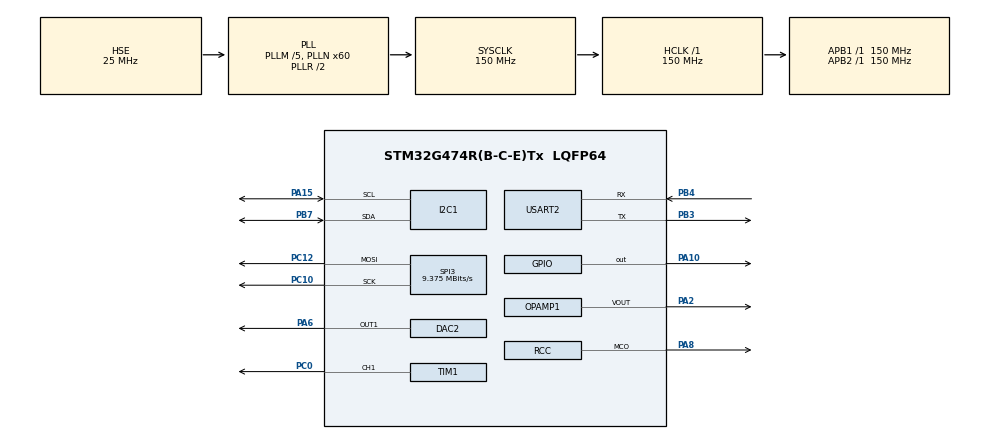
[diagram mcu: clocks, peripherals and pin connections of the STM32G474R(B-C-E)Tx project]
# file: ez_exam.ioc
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CRC.CRCLength=CRC_POLYLENGTH_16B
CRC.DefaultInitValueUse=DEFAULT_INIT_VALUE_DISABLE
CRC.DefaultPolynomialUse=DEFAULT_POLYNOMIAL_DISABLE
CRC.GeneratingPolynomial=X12+X5+X0
DAC3.DAC_DMADoubleDataMode-DAC_OUT1_Int=ENABLE
DAC3.DAC_Trigger_OUT1-DAC_OUT1_Int=DAC_TRIGGER_T15_TRGO
Dma.DAC3_CH1.1.Direction=DMA_MEMORY_TO_PERIPH
Dma.DAC3_CH1.1.EventEnable=DISABLE
Dma.DAC3_CH1.1.Instance=DMA1_Channel1
Dma.DAC3_CH1.1.MemDataAlignment=DMA_MDATAALIGN_WORD
Dma.DAC3_CH1.1.MemInc=DMA_MINC_ENABLE
Dma.DAC3_CH1.1.Mode=DMA_CIRCULAR
Dma.DAC3_CH1.1.PeriphDataAlignment=DMA_PDATAALIGN_WORD
Dma.DAC3_CH1.1.PeriphInc=DMA_PINC_DISABLE
Dma.DAC3_CH1.1.Polarity=HAL_DMAMUX_REQ_GEN_RISING
Dma.DAC3_CH1.1.Priority=DMA_PRIORITY_LOW
Dma.DAC3_CH1.1.RequestNumber=1
Dma.DAC3_CH1.1.SignalID=NONE
Dma.DAC3_CH1.1.SyncEnable=DISABLE
Dma.DAC3_CH1.1.SyncPolarity=HAL_DMAMUX_SYNC_NO_EVENT
Dma.DAC3_CH1.1.SyncRequestNumber=1
Dma.DAC3_CH1.1.SyncSignalID=NONE
Dma.Request0=USART2_RX
Dma.Request1=DAC3_CH1
Dma.USART2_RX.0.Direction=DMA_PERIPH_TO_MEMORY
Dma.USART2_RX.0.EventEnable=DISABLE
Dma.USART2_RX.0.Instance=DMA2_Channel8
Dma.USART2_RX.0.MemDataAlignment=DMA_MDATAALIGN_BYTE
Dma.USART2_RX.0.MemInc=DMA_MINC_ENABLE
Dma.USART2_RX.0.Mode=DMA_NORMAL
Dma.USART2_RX.0.PeriphDataAlignment=DMA_PDATAALIGN_BYTE
Dma.USART2_RX.0.PeriphInc=DMA_PINC_DISABLE
Dma.USART2_RX.0.Polarity=HAL_DMAMUX_REQ_GEN_RISING
Dma.USART2_RX.0.Priority=DMA_PRIORITY_LOW
Dma.USART2_RX.0.RequestNumber=1
Dma.USART2_RX.0.SignalID=NONE
Dma.USART2_RX.0.SyncEnable=DISABLE
Dma.USART2_RX.0.SyncPolarity=HAL_DMAMUX_SYNC_NO_EVENT
Dma.USART2_RX.0.SyncRequestNumber=1
Dma.USART2_RX.0.SyncSignalID=NONE
I2C1.Timing=0x30D293D6
Mcu.Family=STM32G4
Mcu.Name=STM32G474R(B-C-E)Tx
Mcu.Package=LQFP64
NVIC.DMA2_Channel8_IRQn=true\:0\:0\:false\:false\:true\:false\:true\:true
NVIC.PriorityGroup=NVIC_PRIORITYGROUP_4
NVIC.USART2_IRQn=true\:0\:0\:false\:false\:true\:true\:true\:true
OPAMP1.PowerMode=OPAMP_POWERMODE_HIGHSPEED
PA10.GPIO_Speed=GPIO_SPEED_FREQ_VERY_HIGH
PA10.PinState=GPIO_PIN_SET
PA10.Signal=GPIO_Output
PA13.Mode=Serial_Wire
PA13.Signal=SYS_JTMS-SWDIO
PA14.Mode=Serial_Wire
PA14.Signal=SYS_JTCK-SWCLK
PA15.Mode=I2C
PA15.Signal=I2C1_SCL
PA2.Mode=Follower-DAC_OUT2-INP
PA2.Signal=OPAMP1_VOUT
PA6.Signal=COMP_DAC21_group
PA8.GPIO_Speed=GPIO_SPEED_FREQ_MEDIUM
PA8.Mode=Clock-out
PA8.Signal=RCC_MCO
PB3.Mode=Asynchronous
PB3.Signal=USART2_TX
PB4.Mode=Asynchronous
PB4.Signal=USART2_RX
PB7.Mode=I2C
PB7.Signal=I2C1_SDA
PC0.Signal=S_TIM1_CH1
PC10.Mode=TX_Only_Simplex_Unidirect_Master
PC10.Signal=SPI3_SCK
PC12.Mode=TX_Only_Simplex_Unidirect_Master
PC12.Signal=SPI3_MOSI
PF0-OSC_IN.Mode=HSE-External-Oscillator
PF0-OSC_IN.Signal=RCC_OSC_IN
PF1-OSC_OUT.Mode=HSE-External-Oscillator
PF1-OSC_OUT.Signal=RCC_OSC_OUT
ProjectManager.HeapSize=0x200
ProjectManager.StackSize=0x400
ProjectManager.TargetToolchain=STM32CubeIDE
RCC.ADC12Freq_Value=150000000
RCC.ADC345Freq_Value=150000000
RCC.AHBFreq_Value=150000000
RCC.APB1Freq_Value=150000000
RCC.APB1TimFreq_Value=150000000
RCC.APB2Freq_Value=150000000
RCC.APB2TimFreq_Value=150000000
RCC.CortexFreq_Value=150000000
RCC.EXTERNAL_CLOCK_VALUE=12288000
RCC.HCLKFreq_Value=150000000
RCC.HSE_VALUE=25000000
RCC.HSI48_VALUE=48000000
RCC.HSI_VALUE=16000000
RCC.LSE_VALUE=32768
RCC.PLLM=RCC_PLLM_DIV5
RCC.PLLN=60
RCC.PLLSourceVirtual=RCC_PLLSOURCE_HSE
RCC.RCC_MCO1Source=RCC_MCO1SOURCE_HSE
RCC.SYSCLKFreq_VALUE=150000000
RCC.SYSCLKSource=RCC_SYSCLKSOURCE_PLLCLK
RCC.USART2CLockSelection=RCC_USART2CLKSOURCE_SYSCLK
RCC.USBFreq_Value=150000000
RCC.VCOOutputFreq_Value=300000000
SH.COMP_DAC21_group.0=DAC2_OUT1,DAC_OUT1
SH.S_TIM1_CH1.0=TIM1_CH1,PWM Generation1 CH1
SPI3.BaudRatePrescaler=SPI_BAUDRATEPRESCALER_16
SPI3.CLKPolarity=SPI_POLARITY_HIGH
SPI3.CalculateBaudRate=9.375 MBits/s
SPI3.DataSize=SPI_DATASIZE_16BIT
SPI3.Direction=SPI_DIRECTION_2LINES
SPI3.Mode=SPI_MODE_MASTER
SPI3.VirtualType=VM_MASTER
TIM1.Channel-PWM\ Generation1\ CH1=TIM_CHANNEL_1
TIM1.PeriodNoDither=24
TIM15.AutoReloadPreload=TIM_AUTORELOAD_PRELOAD_DISABLE
TIM15.Dithering=Disable
TIM15.Integer_PeriodDither=4
TIM15.PeriodNoDither=4
TIM15.RepetitionCounter=0
TIM15.TIM_MasterOutputTrigger=TIM_TRGO_UPDATE
USART2.VirtualMode-Asynchronous=VM_ASYNC
VP_CORDIC_VS_CORDIC.Mode=CORDIC_Activate
VP_CRC_VS_CRC.Mode=CRC_Activate
VP_DAC3_VS_DACI1.Mode=DAC_OUT1_Int
VP_SYS_VS_DBSignals.Mode=DisableDeadBatterySignals
VP_TIM15_VS_ClockSourceINT.Mode=Internal
VP_TIM1_VS_ClockSourceINT.Mode=Internal
board=custom

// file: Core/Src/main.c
/* USER CODE BEGIN Header */
/**
  ******************************************************************************
  * @file           : main.c
  * @brief          : Main program body
  ******************************************************************************
  * @attention
  *
  * Copyright (c) 2024 STMicroelectronics.
  * All rights reserved.
  *
  * This software is licensed under terms that can be found in the LICENSE file
  * in the root directory of this software component.
  * If no LICENSE file comes with this software, it is provided AS-IS.
  *
  ******************************************************************************
  */
/* USER CODE END Header */
#include "main.h"

/* USER CODE BEGIN Includes */
#include "dds.h"
#include <math.h>
#include <stm32g4xx_hal_cordic.h>
/* USER CODE END Includes */

CORDIC_HandleTypeDef hcordic;

CRC_HandleTypeDef hcrc;

DAC_HandleTypeDef hdac2;
DAC_HandleTypeDef hdac3;
DMA_HandleTypeDef hdma_dac3_ch1;

I2C_HandleTypeDef hi2c1;

OPAMP_HandleTypeDef hopamp1;

SPI_HandleTypeDef hspi3;

TIM_HandleTypeDef htim1;
TIM_HandleTypeDef htim15;

UART_HandleTypeDef huart2;
DMA_HandleTypeDef hdma_usart2_rx;

void SystemClock_Config(void);
static void MX_GPIO_Init(void);
static void MX_DMA_Init(void);
static void MX_CRC_Init(void);
static void MX_USART2_UART_Init(void);
static void MX_TIM1_Init(void);
static void MX_I2C1_Init(void);
static void MX_SPI3_Init(void);
static void MX_DAC3_Init(void);
static void MX_OPAMP1_Init(void);
static void MX_TIM15_Init(void);
static void MX_CORDIC_Init(void);
static void MX_DAC2_Init(void);
/* USER CODE BEGIN PFP */
void i2c_handler(uint8_t * data, size_t size)
{
	if (data[0] == 'W')
	{
		uint8_t result = 0;
		if (HAL_I2C_Master_Transmit(&hi2c1, data[1], data+2 , size - 2, size) !=  HAL_OK)
		{
			result = -1 ;
		}
		//uart_transmit(&result, 1);
	}
	else if (data[0] == 'R')
	{
		uint8_t length = data[2];
		if (length > 16)
			length = 16;
		uint8_t i2c_buffer[17];
		i2c_buffer[0] = 0;

		if (HAL_I2C_Master_Receive(&hi2c1, data[1], i2c_buffer + 1, length , length + 1) != HAL_OK)
		{
			i2c_buffer[0] = -1;
		}
		//uart_transmit(i2c_buffer, length + 1);
	}
}
void send_data(uint16_t data)
{
	HAL_GPIO_WritePin(GPIOA, 1<<10, GPIO_PIN_RESET);
	HAL_SPI_Transmit(&hspi3, (uint8_t *)&data, 1, 10);
	HAL_GPIO_WritePin(GPIOA, 1<<10, GPIO_PIN_SET);
}
void i2c_write(uint8_t * data, size_t size , uint16_t addr)
{
	if (HAL_I2C_Master_Transmit(&hi2c1, addr, data , size , size) !=  HAL_OK)
		return;
}
void i2c_read(uint8_t * data, size_t size, uint8_t i2c_buffer[17] ,uint16_t addr)
{
	uint8_t length = data[1];
	if (length > 16)
		length = 16;
	i2c_buffer[0] = 0;

	if (HAL_I2C_Master_Receive(&hi2c1, addr, i2c_buffer + 1, length , length + 1) != HAL_OK)
	{
		i2c_buffer[0] = -1;
	}
}
void multisynth_program(int intg, int num, int denom, int rdiv, uint8_t* data , uint8_t reg_addr) {
    int p1 = 128 * intg + floor(128*(double)num/denom) - 512;
    int p2 = 128 * num - denom * floor(128*(double)num/denom);
    int p3 = denom;

    int x, y, z;
    x = p3 / (256*256);
    p3 %= (256*256);
    y = p3 / 256;
    z = p3 % 256;
    data[1] = y;
    data[2] = z;
    data[6] = x << 4;

    x = p1 / (256*256);
    p1 %= (256*256);
    y = p1 / 256;
    z = p1 % 256;
    data[3] = x;
    data[4] = y;
    data[5] = z;

    x = p2 / (256*256);
    p2 %= (256*256);
    y = p2 / 256;
    z = p2 % 256;
    data[6] |= x;
    data[7] = y;
    data[8] = z;

    data[3] |= rdiv << 4;
    data[0] = reg_addr;
}
void pll_freq(uint8_t x , uint8_t y)
{
	uint8_t data[9] = {0};
	for (int i = 0 ; i < 9 ;++ i )
		  	  {
		  		  data[i] = 0;
		  	  }
		  data[0] = 3;
		  data[1] = 255;
		  i2c_write(data , 2  , 0xc0);
		  for (int i = 0 ; i < 9 ;++ i )
		  {
			  data[i] = 0;
		  }
		  multisynth_program(x, 0, 500, 0, data , 26);
		i2c_write(data, 9 , 0xc0);
		for (int i = 0 ; i < 9 ;++ i )
		  {
			  data[i] = 0;
		  }
		multisynth_program(y, 0, 1, 0, data , 42);
		i2c_write(data, 9, 0xc0);
		for (int i = 0 ; i < 9 ;++ i )
		  {
			  data[i] = 0;
		  }
		data[0] = 16;
		data[1] = 0b11<<2 | 0b01;
		i2c_write(data, 2, 0xc0);
		for (int i = 0 ; i < 9 ;++ i )
		  {
			  data[i] = 0;
		  }
		data[0] = 3;
		data[1] = 255 - (1);
		i2c_write(data, 2, 0xc0);
}
#define length 15
void set_dac(uint8_t offset)
{

	  uint32_t temp1[length];
	  uint32_t temp2[length];
	  uint16_t hsdac_buffer[length];
	  for (int i = 0; i < length; ++i)
	  {
		  temp1[i] = (1llu<<32) / length * i;
	  }

	  HAL_CORDIC_CalculateZO(&hcordic, temp1, temp2, length,10);
	  for (int i= 0 ; i < length; ++i)
	  {
		  hsdac_buffer[i] = (temp2[i] + (1<< 31))>>21;
		  hsdac_buffer[i] += offset;
	  }
	  HAL_DAC_Start_DMA(&hdac3, DAC_CHANNEL_1, hsdac_buffer, length / 2, DAC_ALIGN_12B_R);
//	  uint16_t dither[1000];
//	  int time_dither = 4;
//	  float e = 0;
//	  for (int i = 0 ; i < 1000 ; ++i)
//	  {
//
//		  e /= 2;
//		  if (e <1.14 )
//		  {
//
//			  dither[i] = 2;
//			  e +=2 ;
//		  }
//		  else
//		  {
//			  dither[i] = 1;
//			  e += 1;
//		  }
//	  }
//	  uint16_t dither[10] = {4,4,4,4,5,4,4,4,4,5};
//	  HAL_TIM_Base_Start_DMA(&htim15 ,dither , 1000 );
	  //(&htim15)->Instance->ARR = (uint32_t)(4);
//	  HAL_TIM_PWM_Start(&htim15, TIM_CHANNEL_1);
	  HAL_TIM_Base_Start(&htim15);
	  HAL_OPAMP_Start(&hopamp1);
}
/* USER CODE END PFP */

int main(void)
{

  /* MCU Configuration--------------------------------------------------------*/

  /* Reset of all peripherals, Initializes the Flash interface and the Systick. */
  HAL_Init();

  /* Configure the system clock */
  SystemClock_Config();

  /* Initialize all configured peripherals */
  MX_GPIO_Init();
  MX_DMA_Init();
  MX_CRC_Init();
  MX_USART2_UART_Init();
  MX_TIM1_Init();
  MX_I2C1_Init();
  MX_SPI3_Init();
  MX_DAC3_Init();
  MX_OPAMP1_Init();
  MX_TIM15_Init();
  MX_CORDIC_Init();
  MX_DAC2_Init();
  /* USER CODE BEGIN 2 */
  //uint8_t data[9] = {0};
  //HAL_DAC_Start(&hdac2, DAC_CHANNEL_1);
  //HAL_DAC_SetValue(&hdac2, DAC1_CHANNEL_1, DAC_ALIGN_12B_R, 4000);
  pll_freq(40,10);
  set_freq(send_data, 1000000, 1);
  set_dac(512);
//  set_freq(send_data, 10000000, 1);
//#define length 10
//  uint32_t temp1[length];
//  uint32_t temp2[length];
//  uint16_t hsdac_buffer[length];
//  for (int i = 0; i < length; ++i)
//  {
//	  temp1[i] = (1llu<<32) / length * i;
//  }
//
//  HAL_CORDIC_CalculateZO(&hcordic, temp1, temp2, length,10);
//  for (int i= 0 ; i < length; ++i)
//  {
//	  hsdac_buffer[i] = (temp2[i] + (1<< 31))>>21;
//	  hsdac_buffer[i] += 512;
//  }
//  HAL_DAC_Start_DMA(&hdac3, DAC_CHANNEL_1, hsdac_buffer, length / 2, DAC_ALIGN_12B_R);
//
//  HAL_TIM_Base_Start(&htim15);
//  (&htim15)->Instance->ARR = (uint32_t)(6);
//  HAL_OPAMP_Start(&hopamp1);
  /* USER CODE END 2 */

  /* Infinite loop */
  while (1)
  {

  }
}

void SystemClock_Config(void)
{
  RCC_OscInitTypeDef RCC_OscInitStruct = {0};
  RCC_ClkInitTypeDef RCC_ClkInitStruct = {0};

  /** Configure the main internal regulator output voltage
  */
  HAL_PWREx_ControlVoltageScaling(PWR_REGULATOR_VOLTAGE_SCALE1);

  /** Initializes the RCC Oscillators according to the specified parameters
  * in the RCC_OscInitTypeDef structure.
  */
  RCC_OscInitStruct.OscillatorType = RCC_OSCILLATORTYPE_HSE;
  RCC_OscInitStruct.HSEState = RCC_HSE_ON;
  RCC_OscInitStruct.PLL.PLLState = RCC_PLL_ON;
  RCC_OscInitStruct.PLL.PLLSource = RCC_PLLSOURCE_HSE;
  RCC_OscInitStruct.PLL.PLLM = RCC_PLLM_DIV5;
  RCC_OscInitStruct.PLL.PLLN = 60;
  RCC_OscInitStruct.PLL.PLLP = RCC_PLLP_DIV2;
  RCC_OscInitStruct.PLL.PLLQ = RCC_PLLQ_DIV2;
  RCC_OscInitStruct.PLL.PLLR = RCC_PLLR_DIV2;
  if (HAL_RCC_OscConfig(&RCC_OscInitStruct) != HAL_OK)
  {
    Error_Handler();
  }

  /** Initializes the CPU, AHB and APB buses clocks
  */
  RCC_ClkInitStruct.ClockType = RCC_CLOCKTYPE_HCLK|RCC_CLOCKTYPE_SYSCLK
                              |RCC_CLOCKTYPE_PCLK1|RCC_CLOCKTYPE_PCLK2;
  RCC_ClkInitStruct.SYSCLKSource = RCC_SYSCLKSOURCE_PLLCLK;
  RCC_ClkInitStruct.AHBCLKDivider = RCC_SYSCLK_DIV1;
  RCC_ClkInitStruct.APB1CLKDivider = RCC_HCLK_DIV1;
  RCC_ClkInitStruct.APB2CLKDivider = RCC_HCLK_DIV1;

  if (HAL_RCC_ClockConfig(&RCC_ClkInitStruct, FLASH_LATENCY_4) != HAL_OK)
  {
    Error_Handler();
  }
  HAL_RCC_MCOConfig(RCC_MCO1, RCC_MCO1SOURCE_HSE, RCC_MCODIV_1);
}

static void MX_CORDIC_Init(void)
{

  hcordic.Instance = CORDIC;
  if (HAL_CORDIC_Init(&hcordic) != HAL_OK)
  {
    Error_Handler();
  }

}

static void MX_CRC_Init(void)
{

  hcrc.Instance = CRC;
  hcrc.Init.DefaultPolynomialUse = DEFAULT_POLYNOMIAL_DISABLE;
  hcrc.Init.DefaultInitValueUse = DEFAULT_INIT_VALUE_DISABLE;
  hcrc.Init.GeneratingPolynomial = 4129;
  hcrc.Init.CRCLength = CRC_POLYLENGTH_16B;
  hcrc.Init.InitValue = 0;
  hcrc.Init.InputDataInversionMode = CRC_INPUTDATA_INVERSION_NONE;
  hcrc.Init.OutputDataInversionMode = CRC_OUTPUTDATA_INVERSION_DISABLE;
  hcrc.InputDataFormat = CRC_INPUTDATA_FORMAT_BYTES;
  if (HAL_CRC_Init(&hcrc) != HAL_OK)
  {
    Error_Handler();
  }

}

static void MX_DAC2_Init(void)
{

  DAC_ChannelConfTypeDef sConfig = {0};

  /** DAC Initialization
  */
  hdac2.Instance = DAC2;
  if (HAL_DAC_Init(&hdac2) != HAL_OK)
  {
    Error_Handler();
  }

  /** DAC channel OUT1 config
  */
  sConfig.DAC_HighFrequency = DAC_HIGH_FREQUENCY_INTERFACE_MODE_AUTOMATIC;
  sConfig.DAC_DMADoubleDataMode = DISABLE;
  sConfig.DAC_SignedFormat = DISABLE;
  sConfig.DAC_SampleAndHold = DAC_SAMPLEANDHOLD_DISABLE;
  sConfig.DAC_Trigger = DAC_TRIGGER_NONE;
  sConfig.DAC_Trigger2 = DAC_TRIGGER_NONE;
  sConfig.DAC_OutputBuffer = DAC_OUTPUTBUFFER_ENABLE;
  sConfig.DAC_ConnectOnChipPeripheral = DAC_CHIPCONNECT_EXTERNAL;
  sConfig.DAC_UserTrimming = DAC_TRIMMING_FACTORY;
  if (HAL_DAC_ConfigChannel(&hdac2, &sConfig, DAC_CHANNEL_1) != HAL_OK)
  {
    Error_Handler();
  }

}

static void MX_DAC3_Init(void)
{

  DAC_ChannelConfTypeDef sConfig = {0};

  /** DAC Initialization
  */
  hdac3.Instance = DAC3;
  if (HAL_DAC_Init(&hdac3) != HAL_OK)
  {
    Error_Handler();
  }

  /** DAC channel OUT1 config
  */
  sConfig.DAC_HighFrequency = DAC_HIGH_FREQUENCY_INTERFACE_MODE_AUTOMATIC;
  sConfig.DAC_DMADoubleDataMode = ENABLE;
  sConfig.DAC_SignedFormat = DISABLE;
  sConfig.DAC_SampleAndHold = DAC_SAMPLEANDHOLD_DISABLE;
  sConfig.DAC_Trigger = DAC_TRIGGER_T15_TRGO;
  sConfig.DAC_Trigger2 = DAC_TRIGGER_NONE;
  sConfig.DAC_OutputBuffer = DAC_OUTPUTBUFFER_DISABLE;
  sConfig.DAC_ConnectOnChipPeripheral = DAC_CHIPCONNECT_INTERNAL;
  sConfig.DAC_UserTrimming = DAC_TRIMMING_FACTORY;
  if (HAL_DAC_ConfigChannel(&hdac3, &sConfig, DAC_CHANNEL_1) != HAL_OK)
  {
    Error_Handler();
  }

}

static void MX_I2C1_Init(void)
{

  hi2c1.Instance = I2C1;
  hi2c1.Init.Timing = 0x30D293D6;
  hi2c1.Init.OwnAddress1 = 0;
  hi2c1.Init.AddressingMode = I2C_ADDRESSINGMODE_7BIT;
  hi2c1.Init.DualAddressMode = I2C_DUALADDRESS_DISABLE;
  hi2c1.Init.OwnAddress2 = 0;
  hi2c1.Init.OwnAddress2Masks = I2C_OA2_NOMASK;
  hi2c1.Init.GeneralCallMode = I2C_GENERALCALL_DISABLE;
  hi2c1.Init.NoStretchMode = I2C_NOSTRETCH_DISABLE;
  if (HAL_I2C_Init(&hi2c1) != HAL_OK)
  {
    Error_Handler();
  }

  /** Configure Analogue filter
  */
  if (HAL_I2CEx_ConfigAnalogFilter(&hi2c1, I2C_ANALOGFILTER_ENABLE) != HAL_OK)
  {
    Error_Handler();
  }

  /** Configure Digital filter
  */
  if (HAL_I2CEx_ConfigDigitalFilter(&hi2c1, 0) != HAL_OK)
  {
    Error_Handler();
  }

}

static void MX_OPAMP1_Init(void)
{

  hopamp1.Instance = OPAMP1;
  hopamp1.Init.PowerMode = OPAMP_POWERMODE_HIGHSPEED;
  hopamp1.Init.Mode = OPAMP_FOLLOWER_MODE;
  hopamp1.Init.NonInvertingInput = OPAMP_NONINVERTINGINPUT_DAC;
  hopamp1.Init.InternalOutput = DISABLE;
  hopamp1.Init.TimerControlledMuxmode = OPAMP_TIMERCONTROLLEDMUXMODE_DISABLE;
  hopamp1.Init.UserTrimming = OPAMP_TRIMMING_FACTORY;
  if (HAL_OPAMP_Init(&hopamp1) != HAL_OK)
  {
    Error_Handler();
  }

}

static void MX_SPI3_Init(void)
{

  /* SPI3 parameter configuration*/
  hspi3.Instance = SPI3;
  hspi3.Init.Mode = SPI_MODE_MASTER;
  hspi3.Init.Direction = SPI_DIRECTION_2LINES;
  hspi3.Init.DataSize = SPI_DATASIZE_16BIT;
  hspi3.Init.CLKPolarity = SPI_POLARITY_HIGH;
  hspi3.Init.CLKPhase = SPI_PHASE_1EDGE;
  hspi3.Init.NSS = SPI_NSS_SOFT;
  hspi3.Init.BaudRatePrescaler = SPI_BAUDRATEPRESCALER_16;
  hspi3.Init.FirstBit = SPI_FIRSTBIT_MSB;
  hspi3.Init.TIMode = SPI_TIMODE_DISABLE;
  hspi3.Init.CRCCalculation = SPI_CRCCALCULATION_DISABLE;
  hspi3.Init.CRCPolynomial = 7;
  hspi3.Init.CRCLength = SPI_CRC_LENGTH_DATASIZE;
  hspi3.Init.NSSPMode = SPI_NSS_PULSE_ENABLE;
  if (HAL_SPI_Init(&hspi3) != HAL_OK)
  {
    Error_Handler();
  }

}

static void MX_TIM1_Init(void)
{

  TIM_ClockConfigTypeDef sClockSourceConfig = {0};
  TIM_MasterConfigTypeDef sMasterConfig = {0};
  TIM_OC_InitTypeDef sConfigOC = {0};
  TIM_BreakDeadTimeConfigTypeDef sBreakDeadTimeConfig = {0};

  htim1.Instance = TIM1;
  htim1.Init.Prescaler = 0;
  htim1.Init.CounterMode = TIM_COUNTERMODE_UP;
  htim1.Init.Period = 24;
  htim1.Init.ClockDivision = TIM_CLOCKDIVISION_DIV1;
  htim1.Init.RepetitionCounter = 0;
  htim1.Init.AutoReloadPreload = TIM_AUTORELOAD_PRELOAD_DISABLE;
  if (HAL_TIM_Base_Init(&htim1) != HAL_OK)
  {
    Error_Handler();
  }
  sClockSourceConfig.ClockSource = TIM_CLOCKSOURCE_INTERNAL;
  if (HAL_TIM_ConfigClockSource(&htim1, &sClockSourceConfig) != HAL_OK)
  {
    Error_Handler();
  }
  if (HAL_TIM_PWM_Init(&htim1) != HAL_OK)
  {
    Error_Handler();
  }
  sMasterConfig.MasterOutputTrigger = TIM_TRGO_RESET;
  sMasterConfig.MasterOutputTrigger2 = TIM_TRGO2_RESET;
  sMasterConfig.MasterSlaveMode = TIM_MASTERSLAVEMODE_DISABLE;
  if (HAL_TIMEx_MasterConfigSynchronization(&htim1, &sMasterConfig) != HAL_OK)
  {
    Error_Handler();
  }
  sConfigOC.OCMode = TIM_OCMODE_PWM1;
  sConfigOC.Pulse = 0;
  sConfigOC.OCPolarity = TIM_OCPOLARITY_HIGH;
  sConfigOC.OCNPolarity = TIM_OCNPOLARITY_HIGH;
  sConfigOC.OCFastMode = TIM_OCFAST_DISABLE;
  sConfigOC.OCIdleState = TIM_OCIDLESTATE_RESET;
  sConfigOC.OCNIdleState = TIM_OCNIDLESTATE_RESET;
  if (HAL_TIM_PWM_ConfigChannel(&htim1, &sConfigOC, TIM_CHANNEL_1) != HAL_OK)
  {
    Error_Handler();
  }
  sBreakDeadTimeConfig.OffStateRunMode = TIM_OSSR_DISABLE;
  sBreakDeadTimeConfig.OffStateIDLEMode = TIM_OSSI_DISABLE;
  sBreakDeadTimeConfig.LockLevel = TIM_LOCKLEVEL_OFF;
  sBreakDeadTimeConfig.DeadTime = 0;
  sBreakDeadTimeConfig.BreakState = TIM_BREAK_DISABLE;
  sBreakDeadTimeConfig.BreakPolarity = TIM_BREAKPOLARITY_HIGH;
  sBreakDeadTimeConfig.BreakFilter = 0;
  sBreakDeadTimeConfig.BreakAFMode = TIM_BREAK_AFMODE_INPUT;
  sBreakDeadTimeConfig.Break2State = TIM_BREAK2_DISABLE;
  sBreakDeadTimeConfig.Break2Polarity = TIM_BREAK2POLARITY_HIGH;
  sBreakDeadTimeConfig.Break2Filter = 0;
  sBreakDeadTimeConfig.Break2AFMode = TIM_BREAK_AFMODE_INPUT;
  sBreakDeadTimeConfig.AutomaticOutput = TIM_AUTOMATICOUTPUT_DISABLE;
  if (HAL_TIMEx_ConfigBreakDeadTime(&htim1, &sBreakDeadTimeConfig) != HAL_OK)
  {
    Error_Handler();
  }
  HAL_TIM_MspPostInit(&htim1);

}

static void MX_TIM15_Init(void)
{

  TIM_ClockConfigTypeDef sClockSourceConfig = {0};
  TIM_MasterConfigTypeDef sMasterConfig = {0};

  htim15.Instance = TIM15;
  htim15.Init.Prescaler = 0;
  htim15.Init.CounterMode = TIM_COUNTERMODE_UP;
  htim15.Init.Period = 4;
  htim15.Init.ClockDivision = TIM_CLOCKDIVISION_DIV1;
  htim15.Init.RepetitionCounter = 0;
  htim15.Init.AutoReloadPreload = TIM_AUTORELOAD_PRELOAD_DISABLE;
  if (HAL_TIM_Base_Init(&htim15) != HAL_OK)
  {
    Error_Handler();
  }
  sClockSourceConfig.ClockSource = TIM_CLOCKSOURCE_INTERNAL;
  if (HAL_TIM_ConfigClockSource(&htim15, &sClockSourceConfig) != HAL_OK)
  {
    Error_Handler();
  }
  sMasterConfig.MasterOutputTrigger = TIM_TRGO_UPDATE;
  sMasterConfig.MasterSlaveMode = TIM_MASTERSLAVEMODE_DISABLE;
  if (HAL_TIMEx_MasterConfigSynchronization(&htim15, &sMasterConfig) != HAL_OK)
  {
    Error_Handler();
  }

}

static void MX_USART2_UART_Init(void)
{

  huart2.Instance = USART2;
  huart2.Init.BaudRate = 115200;
  huart2.Init.WordLength = UART_WORDLENGTH_8B;
  huart2.Init.StopBits = UART_STOPBITS_1;
  huart2.Init.Parity = UART_PARITY_NONE;
  huart2.Init.Mode = UART_MODE_TX_RX;
  huart2.Init.HwFlowCtl = UART_HWCONTROL_NONE;
  huart2.Init.OverSampling = UART_OVERSAMPLING_16;
  huart2.Init.OneBitSampling = UART_ONE_BIT_SAMPLE_DISABLE;
  huart2.Init.ClockPrescaler = UART_PRESCALER_DIV1;
  huart2.AdvancedInit.AdvFeatureInit = UART_ADVFEATURE_NO_INIT;
  if (HAL_UART_Init(&huart2) != HAL_OK)
  {
    Error_Handler();
  }
  if (HAL_UARTEx_SetTxFifoThreshold(&huart2, UART_TXFIFO_THRESHOLD_1_8) != HAL_OK)
  {
    Error_Handler();
  }
  if (HAL_UARTEx_SetRxFifoThreshold(&huart2, UART_RXFIFO_THRESHOLD_1_8) != HAL_OK)
  {
    Error_Handler();
  }
  if (HAL_UARTEx_DisableFifoMode(&huart2) != HAL_OK)
  {
    Error_Handler();
  }

}

static void MX_DMA_Init(void)
{

  /* DMA controller clock enable */
  __HAL_RCC_DMAMUX1_CLK_ENABLE();
  __HAL_RCC_DMA2_CLK_ENABLE();
  __HAL_RCC_DMA1_CLK_ENABLE();

  /* DMA interrupt init */
  /* DMA2_Channel8_IRQn interrupt configuration */
  HAL_NVIC_SetPriority(DMA2_Channel8_IRQn, 0, 0);
  HAL_NVIC_EnableIRQ(DMA2_Channel8_IRQn);

}

static void MX_GPIO_Init(void)
{
  GPIO_InitTypeDef GPIO_InitStruct = {0};

  /* GPIO Ports Clock Enable */
  __HAL_RCC_GPIOF_CLK_ENABLE();
  __HAL_RCC_GPIOC_CLK_ENABLE();
  __HAL_RCC_GPIOA_CLK_ENABLE();
  __HAL_RCC_GPIOB_CLK_ENABLE();

  /*Configure GPIO pin Output Level */
  HAL_GPIO_WritePin(GPIOA, GPIO_PIN_10, GPIO_PIN_SET);

  /*Configure GPIO pin : PA8 */
  GPIO_InitStruct.Pin = GPIO_PIN_8;
  GPIO_InitStruct.Mode = GPIO_MODE_AF_PP;
  GPIO_InitStruct.Pull = GPIO_NOPULL;
  GPIO_InitStruct.Speed = GPIO_SPEED_FREQ_MEDIUM;
  GPIO_InitStruct.Alternate = GPIO_AF0_MCO;
  HAL_GPIO_Init(GPIOA, &GPIO_InitStruct);

  /*Configure GPIO pin : PA10 */
  GPIO_InitStruct.Pin = GPIO_PIN_10;
  GPIO_InitStruct.Mode = GPIO_MODE_OUTPUT_PP;
  GPIO_InitStruct.Pull = GPIO_NOPULL;
  GPIO_InitStruct.Speed = GPIO_SPEED_FREQ_VERY_HIGH;
  HAL_GPIO_Init(GPIOA, &GPIO_InitStruct);

}

void Error_Handler(void)
{
  __disable_irq();
  while (1)
  {
  }
}
